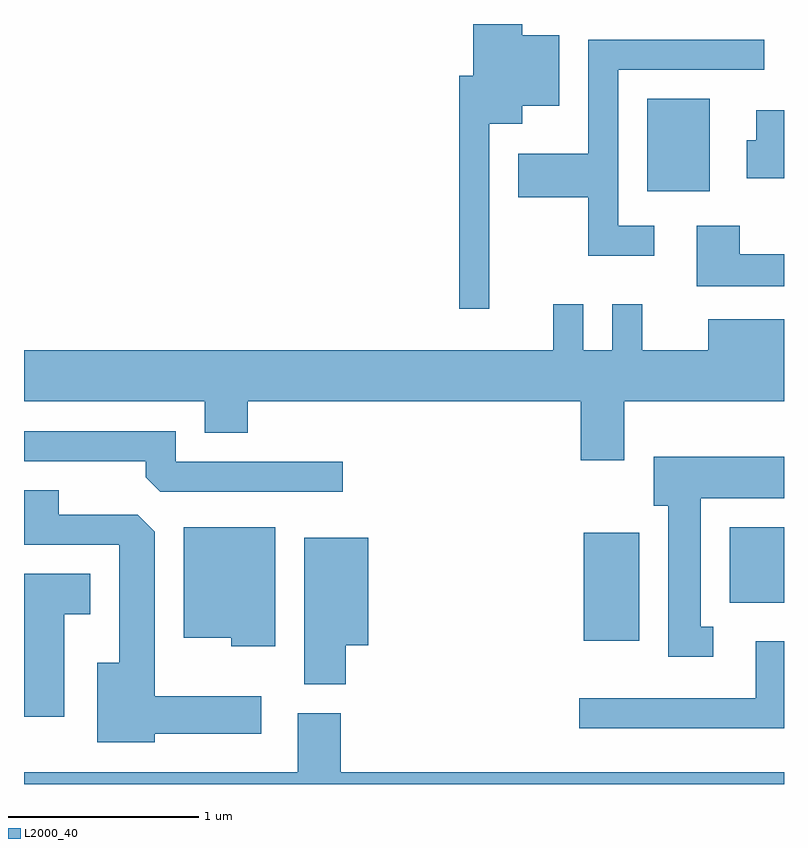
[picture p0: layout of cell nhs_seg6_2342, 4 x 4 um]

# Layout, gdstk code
import gdstk
lib = gdstk.Library(unit=1e-6, precision=1e-09)
def R(c, l, rs):  # rectangles x0, y0, x1, y1
    for r in rs: c.add(gdstk.rectangle(r[:2], r[2:], *l))
def P(c, l, *ps):  # polygons
    for p in ps: c.add(gdstk.Polygon(p, *l))
L2000_40 = (2000, 40)

nhs_seg6_2342 = lib.new_cell('nhs_seg6_2342')
R(nhs_seg6_2342, L2000_40, [(258.556,1630.916,258.849,1631.484), (259.326,1631.116,259.611,1631.514), (258.891,1633.281,259.219,1633.769)])
P(nhs_seg6_2342, L2000_40, [(258.059,1633.636),(258.234,1633.636),(258.234,1633.731),(258.429,1633.731),(258.429,1634.104),(258.234,1634.104),(258.234,1634.162),(257.976,1634.162),(257.976,1633.889),(257.901,1633.889),(257.901,1632.663),(258.059,1632.663)],
  [(258.928,1633.099),(258.739,1633.099),(258.739,1633.921),(259.508,1633.921),(259.508,1634.079),(258.581,1634.079),(258.581,1633.479),(258.211,1633.479),(258.211,1633.251),(258.581,1633.251),(258.581,1632.941),(258.928,1632.941)],
  [(259.611,1633.709),(259.466,1633.709),(259.466,1633.549),(259.416,1633.549),(259.416,1633.351),(259.611,1633.351)],
  [(259.611,1632.949),(259.379,1632.949),(259.379,1633.099),(259.151,1633.099),(259.151,1632.781),(259.611,1632.781)],
  [(258.769,1632.176),(259.611,1632.176),(259.611,1632.609),(259.211,1632.609),(259.211,1632.444),(258.864,1632.444),(258.864,1632.688),(258.706,1632.688),(258.706,1632.444),(258.554,1632.444),(258.554,1632.688),(258.396,1632.688),(258.396,1632.444),(255.611,1632.444),(255.611,1632.176),(256.561,1632.176),(256.561,1632.011),(256.789,1632.011),(256.789,1632.176),(258.541,1632.176),(258.541,1631.866),(258.769,1631.866)],
  [(257.288,1631.859),(256.409,1631.859),(256.409,1632.019),(255.611,1632.019),(255.611,1631.861),(256.251,1631.861),(256.251,1631.777),(256.327,1631.701),(257.288,1631.701)],
  [(259.238,1630.989),(259.174,1630.989),(259.174,1631.666),(259.611,1631.666),(259.611,1631.884),(258.926,1631.884),(258.926,1631.626),(259.001,1631.626),(259.001,1630.831),(259.238,1630.831)],
  [(256.299,1630.426),(256.859,1630.426),(256.859,1630.624),(256.299,1630.624),(256.299,1631.489),(256.209,1631.579),(255.794,1631.579),(255.794,1631.709),(255.611,1631.709),(255.611,1631.421),(256.111,1631.421),(256.111,1630.799),(255.996,1630.799),(255.996,1630.381),(256.299,1630.381)],
  [(256.934,1631.514),(256.451,1631.514),(256.451,1630.931),(256.701,1630.931),(256.701,1630.886),(256.934,1630.886)],
  [(257.304,1630.891),(257.424,1630.891),(257.424,1631.459),(257.086,1631.459),(257.086,1630.686),(257.304,1630.686)],
  [(255.824,1631.056),(255.959,1631.056),(255.959,1631.269),(255.611,1631.269),(255.611,1630.516),(255.824,1630.516)],
  [(259.611,1630.914),(259.461,1630.914),(259.461,1630.614),(258.533,1630.614),(258.533,1630.456),(259.611,1630.456)],
  [(259.611,1630.224),(257.279,1630.224),(257.279,1630.534),(257.051,1630.534),(257.051,1630.224),(255.611,1630.224),(255.611,1630.162),(259.611,1630.162)])

lib.write_gds('nhs_seg6_2342.gds')
